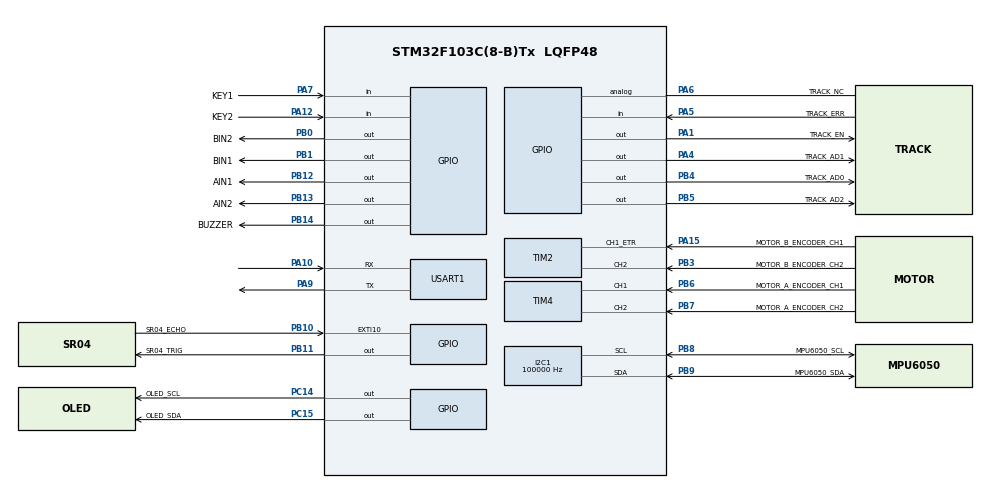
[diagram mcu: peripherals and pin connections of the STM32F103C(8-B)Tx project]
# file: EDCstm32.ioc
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ADC1.Channel-0\#ChannelRegularConversion=ADC_CHANNEL_0
ADC1.Rank-0\#ChannelRegularConversion=1
ADC1.SamplingTime-0\#ChannelRegularConversion=ADC_SAMPLETIME_55CYCLES_5
I2C1.ClockSpeed=100000
Mcu.Family=STM32F1
Mcu.Name=STM32F103C(8-B)Tx
Mcu.Package=LQFP48
NVIC.EXTI15_10_IRQn=true\:2\:0\:true\:false\:true\:true\:true\:true
NVIC.PriorityGroup=NVIC_PRIORITYGROUP_4
NVIC.USART1_IRQn=true\:3\:0\:true\:false\:true\:true\:true\:true
PA0-WKUP.GPIO_Label=TRACK_OUT
PA0-WKUP.Signal=ADC1_IN0
PA1.GPIO_Label=TRACK_EN
PA1.Signal=GPIO_Output
PA10.Mode=Asynchronous
PA10.Signal=USART1_RX
PA11.GPIO_Label=PWMA
PA11.Signal=S_TIM1_CH4
PA12.GPIO_Label=KEY2
PA12.GPIO_PuPd=GPIO_PULLUP
PA12.Signal=GPIO_Input
PA13.Mode=Serial_Wire
PA13.Signal=SYS_JTMS-SWDIO
PA14.Mode=Serial_Wire
PA14.Signal=SYS_JTCK-SWCLK
PA15.GPIO_Label=MOTOR_B_ENCODER_CH1
PA15.Mode=Encoder_Interface
PA15.Signal=S_TIM2_CH1_ETR
PA4.GPIO_Label=TRACK_AD1
PA4.Signal=GPIO_Output
PA5.GPIO_Label=TRACK_ERR
PA5.Signal=GPIO_Input
PA6.GPIO_Label=TRACK_NC
PA6.Signal=GPIO_Analog
PA7.GPIO_Label=KEY1
PA7.GPIO_PuPd=GPIO_PULLDOWN
PA7.Signal=GPIO_Input
PA8.GPIO_Label=PWMB
PA8.Signal=S_TIM1_CH1
PA9.Mode=Asynchronous
PA9.Signal=USART1_TX
PB0.GPIO_Label=BIN2
PB0.Signal=GPIO_Output
PB1.GPIO_Label=BIN1
PB1.Signal=GPIO_Output
PB10.GPIO_ModeDefaultEXTI=GPIO_MODE_IT_RISING_FALLING
PB10.GPIO_Label=SR04_ECHO
PB10.Signal=GPXTI10
PB11.GPIO_Label=SR04_TRIG
PB11.Signal=GPIO_Output
PB12.GPIO_Label=AIN1
PB12.Signal=GPIO_Output
PB13.GPIO_Label=AIN2
PB13.Signal=GPIO_Output
PB14.GPIO_Label=BUZZER
PB14.Signal=GPIO_Output
PB3.GPIO_Label=MOTOR_B_ENCODER_CH2
PB3.Mode=Encoder_Interface
PB3.Signal=S_TIM2_CH2
PB4.GPIO_Label=TRACK_AD0
PB4.Signal=GPIO_Output
PB5.GPIO_Label=TRACK_AD2
PB5.Signal=GPIO_Output
PB6.GPIO_Label=MOTOR_A_ENCODER_CH1
PB6.Mode=Encoder_Interface
PB6.Signal=S_TIM4_CH1
PB7.GPIO_Label=MOTOR_A_ENCODER_CH2
PB7.Mode=Encoder_Interface
PB7.Signal=S_TIM4_CH2
PB8.GPIO_Label=MPU6050_SCL
PB8.Mode=I2C
PB8.Signal=I2C1_SCL
PB9.GPIO_Label=MPU6050_SDA
PB9.Mode=I2C
PB9.Signal=I2C1_SDA
PC14-OSC32_IN.GPIO_Label=OLED_SCL
PC14-OSC32_IN.GPIO_ModeDefaultOutputPP=GPIO_MODE_OUTPUT_OD
PC14-OSC32_IN.GPIO_OutputLevel=GPIO_PIN_SET
PC14-OSC32_IN.Signal=GPIO_Output
PC15-OSC32_OUT.GPIO_Label=OLED_SDA
PC15-OSC32_OUT.GPIO_ModeDefaultOutputPP=GPIO_MODE_OUTPUT_OD
PC15-OSC32_OUT.GPIO_OutputLevel=GPIO_PIN_SET
PC15-OSC32_OUT.Signal=GPIO_Output
ProjectManager.HeapSize=0x200
ProjectManager.StackSize=0x400
ProjectManager.TargetToolchain=CMake
RCC.APB1Freq_Value=8000000
RCC.APB2Freq_Value=8000000
TIM1.Channel-PWM Generation1 CH1=TIM_CHANNEL_1
TIM1.Channel-PWM Generation4 CH4=TIM_CHANNEL_4
TIM1.Period=399
TIM2.Channel-Encoder Mode=TIM_CHANNEL_ALL
TIM2.EncoderMode=TIM_ENCODERMODE_TI12
TIM2.IC1Filter=4
TIM2.IC2Filter=4
TIM3.Period=65535
TIM3.Prescaler=7
TIM4.Channel-Encoder Mode=TIM_CHANNEL_ALL
TIM4.EncoderMode=TIM_ENCODERMODE_TI12
TIM4.IC1Filter=4
TIM4.IC2Filter=4
USART1.VirtualMode=VM_ASYNC
VP_TIM3_VS_ClockSourceINT.Mode=Internal
board=custom

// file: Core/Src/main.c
/* USER CODE BEGIN Header */
/**
  ******************************************************************************
  * @file           : main.c
  * @brief          : Main program body
  ******************************************************************************
  * @attention
  *
  * Copyright (c) 2026 STMicroelectronics.
  * All rights reserved.
  *
  * This software is licensed under terms that can be found in the LICENSE file
  * in the root directory of this software component.
  * If no LICENSE file comes with this software, it is provided AS-IS.
  *
  ******************************************************************************
  */
/* USER CODE END Header */
#include "main.h"

/* USER CODE BEGIN Includes */
#include <string.h>

#include "hc_sr04.h"
#include "gray_sensor.h"
#include "line_follower.h"
#include "oled.h"
#include "serial_console.h"
/* USER CODE END Includes */

/* USER CODE BEGIN PTD */
typedef enum
{
  APP_WAIT_WHITE = 0,
  APP_WAIT_SWEEP,
  APP_SWEEPING,
  APP_READY,
  APP_RUNNING,
  APP_CAL_FAILED,
  APP_FAULT
} AppStateTypeDef;

typedef struct
{
  GPIO_TypeDef *port;
  uint16_t pin;
  GPIO_PinState active_state;
  GPIO_PinState raw_state;
  GPIO_PinState stable_state;
  uint32_t changed_at_ms;
} ButtonTypeDef;

/* USER CODE END PTD */

/* USER CODE BEGIN PD */
#define BUTTON_DEBOUNCE_MS              30u
#define WHITE_CALIBRATION_SAMPLES       32u
#define BLACK_CALIBRATION_MS          5000u
#define READY_SCAN_PERIOD_MS            50u
#define OLED_REFRESH_MS                250u
#define SERIAL_OLED_TEXT_MAX            16u

/* USER CODE END PD */

ADC_HandleTypeDef hadc1;
I2C_HandleTypeDef hi2c1;
TIM_HandleTypeDef htim1;
TIM_HandleTypeDef htim2;
TIM_HandleTypeDef htim3;
TIM_HandleTypeDef htim4;
UART_HandleTypeDef huart1;

/* USER CODE BEGIN PV */
HC_SR04_HandleTypeDef hsr04;
GraySensor_HandleTypeDef gray_sensor;
LineFollower_HandleTypeDef line_follower;
ButtonTypeDef key1_button;
ButtonTypeDef key2_button;
AppStateTypeDef app_state = APP_WAIT_WHITE;
uint32_t calibration_started_ms;
uint32_t last_calibration_scan_ms;
uint32_t last_ready_scan_ms;
uint32_t last_oled_refresh_ms;
uint8_t calibration_failed_channels;
char serial_oled_text[SERIAL_OLED_TEXT_MAX + 1u];
uint8_t serial_oled_dirty = 1u;
/* USER CODE END PV */

void SystemClock_Config(void);
static void MX_GPIO_Init(void);
static void MX_ADC1_Init(void);
static void MX_I2C1_Init(void);
static void MX_TIM1_Init(void);
static void MX_TIM2_Init(void);
static void MX_TIM3_Init(void);
static void MX_TIM4_Init(void);
static void MX_USART1_UART_Init(void);
void HAL_TIM_MspPostInit(TIM_HandleTypeDef* htim);
/* USER CODE BEGIN PFP */
static void App_SetState(AppStateTypeDef state);
static void App_UpdateDisplay(uint32_t now_ms);
static void App_GetSerialStatus(SerialConsole_StatusTypeDef *status);
static bool App_SetSerialDisplay(const char *text);
static void Button_Init(ButtonTypeDef *button,
                        GPIO_TypeDef *port,
                        uint16_t pin,
                        GPIO_PinState active_state);
static bool Button_Pressed(ButtonTypeDef *button, uint32_t now_ms);

/* USER CODE END PFP */

/* USER CODE BEGIN 0 */
static void Button_Init(ButtonTypeDef *button,
                        GPIO_TypeDef *port,
                        uint16_t pin,
                        GPIO_PinState active_state)
{
  GPIO_PinState state = HAL_GPIO_ReadPin(port, pin);

  button->port = port;
  button->pin = pin;
  button->active_state = active_state;
  button->raw_state = state;
  button->stable_state = state;
  button->changed_at_ms = HAL_GetTick();
}

static bool Button_Pressed(ButtonTypeDef *button, uint32_t now_ms)
{
  GPIO_PinState raw = HAL_GPIO_ReadPin(button->port, button->pin);

  if (raw != button->raw_state)
  {
    button->raw_state = raw;
    button->changed_at_ms = now_ms;
  }
  else if ((raw != button->stable_state) &&
           ((now_ms - button->changed_at_ms) >= BUTTON_DEBOUNCE_MS))
  {
    button->stable_state = raw;
    return raw == button->active_state;
  }
  return false;
}

static void App_SetState(AppStateTypeDef state)
{
  if ((state != APP_RUNNING) && line_follower.enabled)
  {
    LineFollower_Stop(&line_follower);
  }
  app_state = state;
  last_oled_refresh_ms = 0u;
}

static const char *App_StateText(void)
{
  if ((app_state == APP_RUNNING) &&
      (line_follower.state == LINE_FOLLOWER_LOST))
  {
    return "LOST ";
  }

  switch (app_state)
  {
    case APP_WAIT_WHITE: return "WHITE";
    case APP_WAIT_SWEEP: return "SWEEP";
    case APP_SWEEPING:   return "CAL  ";
    case APP_READY:      return "READY";
    case APP_RUNNING:    return "RUN  ";
    case APP_CAL_FAILED: return "FAIL ";
    default:             return "FAULT";
  }
}

static const char *App_StateProtocolText(void)
{
  if ((app_state == APP_RUNNING) &&
      (line_follower.state == LINE_FOLLOWER_LOST))
  {
    return "LOST";
  }

  switch (app_state)
  {
    case APP_WAIT_WHITE: return "WHITE";
    case APP_WAIT_SWEEP: return "SWEEP";
    case APP_SWEEPING:   return "CAL";
    case APP_READY:      return "READY";
    case APP_RUNNING:    return "RUN";
    case APP_CAL_FAILED: return "FAIL";
    default:             return "FAULT";
  }
}

static void App_GetSerialStatus(SerialConsole_StatusTypeDef *status)
{
  const GraySensor_ResultTypeDef *result =
      GraySensor_GetResult(&gray_sensor);

  status->state = App_StateProtocolText();
  status->uptime_ms = HAL_GetTick();
  status->calibrated = gray_sensor.calibrated;
  status->line_valid = result->line_valid;
  status->position = result->position;
  status->confidence = result->confidence;
  status->left_duty_percent = line_follower.left_duty_percent;
  status->right_duty_percent = line_follower.right_duty_percent;
}

static bool App_SetSerialDisplay(const char *text)
{
  size_t length;
  size_t i;

  if (text == NULL)
  {
    return false;
  }
  length = strlen(text);
  if ((length == 0u) || (length > SERIAL_OLED_TEXT_MAX))
  {
    return false;
  }
  for (i = 0u; i < length; i++)
  {
    if (((unsigned char)text[i] < 0x20u) ||
        ((unsigned char)text[i] > 0x7eu))
    {
      return false;
    }
  }

  memcpy(serial_oled_text, text, length + 1u);
  serial_oled_dirty = 1u;
  last_oled_refresh_ms = 0u;
  return true;
}

static void App_UpdateDisplay(uint32_t now_ms)
{
  const GraySensor_ResultTypeDef *result;
  static AppStateTypeDef displayed_state = APP_FAULT;
  bool state_changed;
  uint32_t remaining_s;

  if ((displayed_state == app_state) &&
      ((now_ms - last_oled_refresh_ms) < OLED_REFRESH_MS))
  {
    return;
  }
  last_oled_refresh_ms = now_ms;
  result = GraySensor_GetResult(&gray_sensor);
  state_changed = displayed_state != app_state;

  if (state_changed)
  {
    OLED_Clear();
    OLED_ShowString(0u, 0u, "8CH TRACK");
    OLED_ShowString(0u, 1u, "State:");
    displayed_state = app_state;
  }
  OLED_ShowString(42u, 1u, App_StateText());

  if (app_state == APP_WAIT_WHITE)
  {
    OLED_ShowString(0u, 3u, "On white ground");
    OLED_ShowString(0u, 5u, "K1: capture white");
  }
  else if (app_state == APP_WAIT_SWEEP)
  {
    OLED_ShowString(0u, 3u, "Move across line");
    OLED_ShowString(0u, 5u, "K1: start 5 sec");
  }
  else if (app_state == APP_SWEEPING)
  {
    remaining_s = BLACK_CALIBRATION_MS -
                  (now_ms - calibration_started_ms);
    remaining_s = (remaining_s + 999u) / 1000u;
    OLED_ShowString(0u, 3u, "Sweep all 8 CH");
    OLED_ShowString(0u, 5u, "Remain:");
    OLED_ShowNum(48u, 5u, remaining_s, 1u);
    OLED_ShowString(54u, 5u, "s ");
  }
  else if (app_state == APP_CAL_FAILED)
  {
    OLED_ShowString(0u, 3u, "Bad CH mask:");
    OLED_ShowNum(78u, 3u, calibration_failed_channels, 3u);
    OLED_ShowString(0u, 5u, "K1: retry white");
  }
  else if ((app_state == APP_READY) || (app_state == APP_RUNNING))
  {
    OLED_ShowString(0u, 2u, "Line:");
    OLED_ShowString(30u, 2u, result->line_valid ? "YES" : "NO ");
    OLED_ShowString(0u, 3u, "Pos:");
    OLED_ShowSignedNum(30u, 3u, result->position, 4u);
    OLED_ShowString(72u, 3u, "C:");
    OLED_ShowNum(84u, 3u, result->confidence, 4u);
    OLED_ShowString(0u, 4u, "P:");
    OLED_ShowNum(12u, 4u, result->peak, 4u);
    OLED_ShowString(48u, 4u, "D:");
    OLED_ShowNum(60u, 4u, result->contrast, 4u);
    OLED_ShowString(0u, 5u, "L:");
    OLED_ShowNum(12u, 5u, line_follower.left_duty_percent, 2u);
    OLED_ShowString(30u, 5u, "R:");
    OLED_ShowNum(42u, 5u, line_follower.right_duty_percent, 2u);
    OLED_ShowString(66u, 5u, "ERR:");
    OLED_ShowNum(90u, 5u,
                 (result->err_state == GPIO_PIN_SET) ? 1u : 0u, 1u);
    OLED_ShowString(0u, 7u,
                    (app_state == APP_READY) ? "K2: start" : "K2: stop ");
  }
  else
  {
    OLED_ShowString(0u, 3u, "ADC/control error");
    OLED_ShowString(0u, 5u, "Reset required");
  }
  if (state_changed || (serial_oled_dirty != 0u))
  {
    OLED_ShowString(0u, 6u, "UART:");
    OLED_ShowString(30u, 6u, "                ");
    OLED_ShowString(30u, 6u, serial_oled_text);
    serial_oled_dirty = 0u;
  }
}

/* USER CODE END 0 */

int main(void)
{

  /* MCU Configuration--------------------------------------------------------*/

  /* Reset of all peripherals, Initializes the Flash interface and the Systick. */
  HAL_Init();

  /* Configure the system clock */
  SystemClock_Config();

  /* Initialize all configured peripherals */
  MX_GPIO_Init();
  MX_ADC1_Init();
  MX_I2C1_Init();
  MX_TIM1_Init();
  MX_TIM2_Init();
  MX_TIM3_Init();
  MX_TIM4_Init();
  MX_USART1_UART_Init();
  /* USER CODE BEGIN 2 */
  if (HC_SR04_Init(&hsr04, &htim3,
                   SR04_TRIG_GPIO_Port, SR04_TRIG_Pin,
                   SR04_ECHO_GPIO_Port, SR04_ECHO_Pin) != HAL_OK)
  {
    Error_Handler();
  }

  OLED_Init();
  OLED_Clear();
  if (GraySensor_Init(&gray_sensor, &hadc1, &htim3) != HAL_OK)
  {
    Error_Handler();
  }
  if (LineFollower_Init(&line_follower, &gray_sensor, &htim1) != HAL_OK)
  {
    Error_Handler();
  }
  Button_Init(&key1_button, KEY1_GPIO_Port, KEY1_Pin, GPIO_PIN_SET);
  Button_Init(&key2_button, KEY2_GPIO_Port, KEY2_Pin, GPIO_PIN_RESET);
  App_SetState(APP_WAIT_WHITE);
  if (SerialConsole_Init(&huart1,
                         App_GetSerialStatus,
                         App_SetSerialDisplay) != HAL_OK)
  {
    Error_Handler();
  }
  /* USER CODE END 2 */

  /* Infinite loop */
  while (1)
  {

    /* USER CODE BEGIN 3 */
    uint32_t now_ms = HAL_GetTick();

    SerialConsole_Process(now_ms);

    if (Button_Pressed(&key1_button, now_ms))
    {
      if ((app_state == APP_WAIT_WHITE) ||
          (app_state == APP_READY) ||
          (app_state == APP_CAL_FAILED))
      {
        LineFollower_Stop(&line_follower);
        if (GraySensor_CaptureWhite(&gray_sensor,
                                    WHITE_CALIBRATION_SAMPLES) == HAL_OK)
        {
          App_SetState(APP_WAIT_SWEEP);
        }
        else
        {
          App_SetState(APP_FAULT);
        }
      }
      else if (app_state == APP_WAIT_SWEEP)
      {
        if (GraySensor_BeginBlackCalibration(&gray_sensor) == HAL_OK)
        {
          calibration_started_ms = now_ms;
          last_calibration_scan_ms = now_ms - LINE_FOLLOWER_PERIOD_MS;
          App_SetState(APP_SWEEPING);
        }
        else
        {
          App_SetState(APP_FAULT);
        }
      }
    }

    if (app_state == APP_SWEEPING)
    {
      if ((now_ms - last_calibration_scan_ms) >= LINE_FOLLOWER_PERIOD_MS)
      {
        last_calibration_scan_ms = now_ms;
        if (GraySensor_UpdateBlackCalibration(&gray_sensor) != HAL_OK)
        {
          App_SetState(APP_FAULT);
        }
      }
      if ((app_state == APP_SWEEPING) &&
          ((now_ms - calibration_started_ms) >= BLACK_CALIBRATION_MS))
      {
        if (GraySensor_FinishBlackCalibration(
              &gray_sensor, &calibration_failed_channels))
        {
          App_SetState(APP_READY);
        }
        else
        {
          App_SetState(APP_CAL_FAILED);
        }
      }
    }

    if (Button_Pressed(&key2_button, now_ms))
    {
      if (app_state == APP_READY)
      {
        if (LineFollower_Start(&line_follower) == HAL_OK)
        {
          App_SetState(APP_RUNNING);
        }
      }
      else if (app_state == APP_RUNNING)
      {
        LineFollower_Stop(&line_follower);
        App_SetState(APP_READY);
      }
    }

    if ((app_state == APP_RUNNING) &&
        (LineFollower_Update(&line_follower, now_ms) != HAL_OK))
    {
      App_SetState(APP_FAULT);
    }

    if ((app_state == APP_READY) &&
        ((now_ms - last_ready_scan_ms) >= READY_SCAN_PERIOD_MS))
    {
      last_ready_scan_ms = now_ms;
      if (GraySensor_Scan(&gray_sensor) != HAL_OK)
      {
        App_SetState(APP_FAULT);
      }
    }
    App_UpdateDisplay(now_ms);
  }
  /* USER CODE END 3 */
}

static void MX_ADC1_Init(void)
{
  ADC_ChannelConfTypeDef sConfig = {0};

  hadc1.Instance = ADC1;
  hadc1.Init.ScanConvMode = ADC_SCAN_DISABLE;
  hadc1.Init.ContinuousConvMode = DISABLE;
  hadc1.Init.DiscontinuousConvMode = DISABLE;
  hadc1.Init.ExternalTrigConv = ADC_SOFTWARE_START;
  hadc1.Init.DataAlign = ADC_DATAALIGN_RIGHT;
  hadc1.Init.NbrOfConversion = 1;
  if (HAL_ADC_Init(&hadc1) != HAL_OK)
  {
    Error_Handler();
  }

  sConfig.Channel = ADC_CHANNEL_0;
  sConfig.Rank = ADC_REGULAR_RANK_1;
  sConfig.SamplingTime = ADC_SAMPLETIME_55CYCLES_5;
  if (HAL_ADC_ConfigChannel(&hadc1, &sConfig) != HAL_OK)
  {
    Error_Handler();
  }
}

static void MX_I2C1_Init(void)
{
  hi2c1.Instance = I2C1;
  hi2c1.Init.ClockSpeed = 100000;
  hi2c1.Init.DutyCycle = I2C_DUTYCYCLE_2;
  hi2c1.Init.OwnAddress1 = 0;
  hi2c1.Init.AddressingMode = I2C_ADDRESSINGMODE_7BIT;
  hi2c1.Init.DualAddressMode = I2C_DUALADDRESS_DISABLE;
  hi2c1.Init.OwnAddress2 = 0;
  hi2c1.Init.GeneralCallMode = I2C_GENERALCALL_DISABLE;
  hi2c1.Init.NoStretchMode = I2C_NOSTRETCH_DISABLE;
  if (HAL_I2C_Init(&hi2c1) != HAL_OK)
  {
    Error_Handler();
  }
}

static void MX_TIM1_Init(void)
{
  TIM_MasterConfigTypeDef sMasterConfig = {0};
  TIM_OC_InitTypeDef sConfigOC = {0};
  TIM_BreakDeadTimeConfigTypeDef sBreakDeadTimeConfig = {0};

  htim1.Instance = TIM1;
  htim1.Init.Prescaler = 0;
  htim1.Init.CounterMode = TIM_COUNTERMODE_UP;
  htim1.Init.Period = 399;
  htim1.Init.ClockDivision = TIM_CLOCKDIVISION_DIV1;
  htim1.Init.RepetitionCounter = 0;
  htim1.Init.AutoReloadPreload = TIM_AUTORELOAD_PRELOAD_DISABLE;
  if (HAL_TIM_PWM_Init(&htim1) != HAL_OK)
  {
    Error_Handler();
  }
  sMasterConfig.MasterOutputTrigger = TIM_TRGO_RESET;
  sMasterConfig.MasterSlaveMode = TIM_MASTERSLAVEMODE_DISABLE;
  if (HAL_TIMEx_MasterConfigSynchronization(&htim1, &sMasterConfig) != HAL_OK)
  {
    Error_Handler();
  }
  sConfigOC.OCMode = TIM_OCMODE_PWM1;
  sConfigOC.Pulse = 0;
  sConfigOC.OCPolarity = TIM_OCPOLARITY_HIGH;
  sConfigOC.OCNPolarity = TIM_OCNPOLARITY_HIGH;
  sConfigOC.OCFastMode = TIM_OCFAST_DISABLE;
  sConfigOC.OCIdleState = TIM_OCIDLESTATE_RESET;
  sConfigOC.OCNIdleState = TIM_OCNIDLESTATE_RESET;
  if (HAL_TIM_PWM_ConfigChannel(&htim1, &sConfigOC, PWMB_TIM_CHANNEL) != HAL_OK)
  {
    Error_Handler();
  }
  if (HAL_TIM_PWM_ConfigChannel(&htim1, &sConfigOC, PWMA_TIM_CHANNEL) != HAL_OK)
  {
    Error_Handler();
  }
  sBreakDeadTimeConfig.OffStateRunMode = TIM_OSSR_DISABLE;
  sBreakDeadTimeConfig.OffStateIDLEMode = TIM_OSSI_DISABLE;
  sBreakDeadTimeConfig.LockLevel = TIM_LOCKLEVEL_OFF;
  sBreakDeadTimeConfig.DeadTime = 0;
  sBreakDeadTimeConfig.BreakState = TIM_BREAK_DISABLE;
  sBreakDeadTimeConfig.BreakPolarity = TIM_BREAKPOLARITY_HIGH;
  sBreakDeadTimeConfig.AutomaticOutput = TIM_AUTOMATICOUTPUT_DISABLE;
  if (HAL_TIMEx_ConfigBreakDeadTime(&htim1, &sBreakDeadTimeConfig) != HAL_OK)
  {
    Error_Handler();
  }
  HAL_TIM_MspPostInit(&htim1);
}

static void MX_TIM2_Init(void)
{
  TIM_Encoder_InitTypeDef sConfig = {0};
  TIM_MasterConfigTypeDef sMasterConfig = {0};

  htim2.Instance = TIM2;
  htim2.Init.Prescaler = 0;
  htim2.Init.CounterMode = TIM_COUNTERMODE_UP;
  htim2.Init.Period = 65535;
  htim2.Init.ClockDivision = TIM_CLOCKDIVISION_DIV1;
  htim2.Init.AutoReloadPreload = TIM_AUTORELOAD_PRELOAD_DISABLE;
  sConfig.EncoderMode = TIM_ENCODERMODE_TI12;
  sConfig.IC1Polarity = TIM_ICPOLARITY_RISING;
  sConfig.IC1Selection = TIM_ICSELECTION_DIRECTTI;
  sConfig.IC1Prescaler = TIM_ICPSC_DIV1;
  sConfig.IC1Filter = 4;
  sConfig.IC2Polarity = TIM_ICPOLARITY_RISING;
  sConfig.IC2Selection = TIM_ICSELECTION_DIRECTTI;
  sConfig.IC2Prescaler = TIM_ICPSC_DIV1;
  sConfig.IC2Filter = 4;
  if (HAL_TIM_Encoder_Init(&htim2, &sConfig) != HAL_OK)
  {
    Error_Handler();
  }
  sMasterConfig.MasterOutputTrigger = TIM_TRGO_RESET;
  sMasterConfig.MasterSlaveMode = TIM_MASTERSLAVEMODE_DISABLE;
  if (HAL_TIMEx_MasterConfigSynchronization(&htim2, &sMasterConfig) != HAL_OK)
  {
    Error_Handler();
  }
}

static void MX_TIM3_Init(void)
{
  TIM_ClockConfigTypeDef sClockSourceConfig = {0};
  TIM_MasterConfigTypeDef sMasterConfig = {0};

  htim3.Instance = TIM3;
  htim3.Init.Prescaler = 7;
  htim3.Init.CounterMode = TIM_COUNTERMODE_UP;
  htim3.Init.Period = 65535;
  htim3.Init.ClockDivision = TIM_CLOCKDIVISION_DIV1;
  htim3.Init.AutoReloadPreload = TIM_AUTORELOAD_PRELOAD_DISABLE;
  if (HAL_TIM_Base_Init(&htim3) != HAL_OK)
  {
    Error_Handler();
  }
  sClockSourceConfig.ClockSource = TIM_CLOCKSOURCE_INTERNAL;
  if (HAL_TIM_ConfigClockSource(&htim3, &sClockSourceConfig) != HAL_OK)
  {
    Error_Handler();
  }
  sMasterConfig.MasterOutputTrigger = TIM_TRGO_RESET;
  sMasterConfig.MasterSlaveMode = TIM_MASTERSLAVEMODE_DISABLE;
  if (HAL_TIMEx_MasterConfigSynchronization(&htim3, &sMasterConfig) != HAL_OK)
  {
    Error_Handler();
  }
}

static void MX_TIM4_Init(void)
{
  TIM_Encoder_InitTypeDef sConfig = {0};
  TIM_MasterConfigTypeDef sMasterConfig = {0};

  htim4.Instance = TIM4;
  htim4.Init.Prescaler = 0;
  htim4.Init.CounterMode = TIM_COUNTERMODE_UP;
  htim4.Init.Period = 65535;
  htim4.Init.ClockDivision = TIM_CLOCKDIVISION_DIV1;
  htim4.Init.AutoReloadPreload = TIM_AUTORELOAD_PRELOAD_DISABLE;
  sConfig.EncoderMode = TIM_ENCODERMODE_TI12;
  sConfig.IC1Polarity = TIM_ICPOLARITY_RISING;
  sConfig.IC1Selection = TIM_ICSELECTION_DIRECTTI;
  sConfig.IC1Prescaler = TIM_ICPSC_DIV1;
  sConfig.IC1Filter = 4;
  sConfig.IC2Polarity = TIM_ICPOLARITY_RISING;
  sConfig.IC2Selection = TIM_ICSELECTION_DIRECTTI;
  sConfig.IC2Prescaler = TIM_ICPSC_DIV1;
  sConfig.IC2Filter = 4;
  if (HAL_TIM_Encoder_Init(&htim4, &sConfig) != HAL_OK)
  {
    Error_Handler();
  }
  sMasterConfig.MasterOutputTrigger = TIM_TRGO_RESET;
  sMasterConfig.MasterSlaveMode = TIM_MASTERSLAVEMODE_DISABLE;
  if (HAL_TIMEx_MasterConfigSynchronization(&htim4, &sMasterConfig) != HAL_OK)
  {
    Error_Handler();
  }
}

static void MX_USART1_UART_Init(void)
{
  huart1.Instance = USART1;
  huart1.Init.BaudRate = 115200;
  huart1.Init.WordLength = UART_WORDLENGTH_8B;
  huart1.Init.StopBits = UART_STOPBITS_1;
  huart1.Init.Parity = UART_PARITY_NONE;
  huart1.Init.Mode = UART_MODE_TX_RX;
  huart1.Init.HwFlowCtl = UART_HWCONTROL_NONE;
  huart1.Init.OverSampling = UART_OVERSAMPLING_16;
  if (HAL_UART_Init(&huart1) != HAL_OK)
  {
    Error_Handler();
  }
}

void SystemClock_Config(void)
{
  RCC_OscInitTypeDef RCC_OscInitStruct = {0};
  RCC_ClkInitTypeDef RCC_ClkInitStruct = {0};

  /** Initializes the RCC Oscillators according to the specified parameters
  * in the RCC_OscInitTypeDef structure.
  */
  RCC_OscInitStruct.OscillatorType = RCC_OSCILLATORTYPE_HSI;
  RCC_OscInitStruct.HSIState = RCC_HSI_ON;
  RCC_OscInitStruct.HSICalibrationValue = RCC_HSICALIBRATION_DEFAULT;
  RCC_OscInitStruct.PLL.PLLState = RCC_PLL_NONE;
  if (HAL_RCC_OscConfig(&RCC_OscInitStruct) != HAL_OK)
  {
    Error_Handler();
  }

  /** Initializes the CPU, AHB and APB buses clocks
  */
  RCC_ClkInitStruct.ClockType = RCC_CLOCKTYPE_HCLK|RCC_CLOCKTYPE_SYSCLK
                              |RCC_CLOCKTYPE_PCLK1|RCC_CLOCKTYPE_PCLK2;
  RCC_ClkInitStruct.SYSCLKSource = RCC_SYSCLKSOURCE_HSI;
  RCC_ClkInitStruct.AHBCLKDivider = RCC_SYSCLK_DIV1;
  RCC_ClkInitStruct.APB1CLKDivider = RCC_HCLK_DIV1;
  RCC_ClkInitStruct.APB2CLKDivider = RCC_HCLK_DIV1;

  if (HAL_RCC_ClockConfig(&RCC_ClkInitStruct, FLASH_LATENCY_0) != HAL_OK)
  {
    Error_Handler();
  }
}

static void MX_GPIO_Init(void)
{
  GPIO_InitTypeDef GPIO_InitStruct = {0};

  /* GPIO Ports Clock Enable */
  __HAL_RCC_GPIOC_CLK_ENABLE();
  __HAL_RCC_GPIOA_CLK_ENABLE();
  __HAL_RCC_GPIOB_CLK_ENABLE();

  /*Configure GPIO pin Output Level */
  HAL_GPIO_WritePin(GPIOC, OLED_SCL_Pin|OLED_SDA_Pin, GPIO_PIN_SET);

  /* Motor, ultrasonic and buzzer outputs default to their inactive state. */
  HAL_GPIO_WritePin(GPIOB, BIN2_Pin|BIN1_Pin|SR04_TRIG_Pin|AIN2_Pin
                           |AIN1_Pin|BUZZER_Pin, GPIO_PIN_RESET);

  /* Keep the analog multiplexer disabled until a scan starts. */
  HAL_GPIO_WritePin(TRACK_EN_GPIO_Port, TRACK_EN_Pin, GPIO_PIN_SET);
  HAL_GPIO_WritePin(TRACK_AD1_GPIO_Port, TRACK_AD1_Pin, GPIO_PIN_RESET);
  HAL_GPIO_WritePin(GPIOB, TRACK_AD0_Pin|TRACK_AD2_Pin, GPIO_PIN_RESET);

  /* OLED software I2C */
  GPIO_InitStruct.Pin = OLED_SCL_Pin|OLED_SDA_Pin;
  GPIO_InitStruct.Mode = GPIO_MODE_OUTPUT_OD;
  GPIO_InitStruct.Pull = GPIO_NOPULL;
  GPIO_InitStruct.Speed = GPIO_SPEED_FREQ_LOW;
  HAL_GPIO_Init(OLED_SCL_GPIO_Port, &GPIO_InitStruct);

  /* Motor direction, HC-SR04 trigger and buzzer outputs */
  GPIO_InitStruct.Pin = BIN2_Pin|BIN1_Pin|SR04_TRIG_Pin|AIN2_Pin
                        |AIN1_Pin|BUZZER_Pin;
  GPIO_InitStruct.Mode = GPIO_MODE_OUTPUT_PP;
  GPIO_InitStruct.Pull = GPIO_NOPULL;
  GPIO_InitStruct.Speed = GPIO_SPEED_FREQ_LOW;
  HAL_GPIO_Init(GPIOB, &GPIO_InitStruct);

  /* HC-SR04 echo edges are timestamped with the 1 MHz TIM3 time base. */
  GPIO_InitStruct.Pin = SR04_ECHO_Pin;
  GPIO_InitStruct.Mode = GPIO_MODE_IT_RISING_FALLING;
  GPIO_InitStruct.Pull = GPIO_NOPULL;
  HAL_GPIO_Init(SR04_ECHO_GPIO_Port, &GPIO_InitStruct);

  HAL_NVIC_SetPriority(EXTI15_10_IRQn, 2, 0);
  HAL_NVIC_EnableIRQ(EXTI15_10_IRQn);

  /* 74HC4051 enable and address outputs. */
  GPIO_InitStruct.Pin = TRACK_EN_Pin|TRACK_AD1_Pin;
  GPIO_InitStruct.Mode = GPIO_MODE_OUTPUT_PP;
  GPIO_InitStruct.Pull = GPIO_NOPULL;
  GPIO_InitStruct.Speed = GPIO_SPEED_FREQ_HIGH;
  HAL_GPIO_Init(GPIOA, &GPIO_InitStruct);

  GPIO_InitStruct.Pin = TRACK_AD0_Pin|TRACK_AD2_Pin;
  HAL_GPIO_Init(GPIOB, &GPIO_InitStruct);

  /* ERR is diagnostic only; PA6 is deliberately left in analog mode. */
  GPIO_InitStruct.Pin = TRACK_ERR_Pin;
  GPIO_InitStruct.Mode = GPIO_MODE_INPUT;
  GPIO_InitStruct.Pull = GPIO_NOPULL;
  HAL_GPIO_Init(TRACK_ERR_GPIO_Port, &GPIO_InitStruct);

  GPIO_InitStruct.Pin = TRACK_NC_Pin;
  GPIO_InitStruct.Mode = GPIO_MODE_ANALOG;
  HAL_GPIO_Init(TRACK_NC_GPIO_Port, &GPIO_InitStruct);

  /* KEY1 is active high; KEY2 is active low. */
  GPIO_InitStruct.Pin = KEY1_Pin;
  GPIO_InitStruct.Mode = GPIO_MODE_INPUT;
  GPIO_InitStruct.Pull = GPIO_PULLDOWN;
  HAL_GPIO_Init(KEY1_GPIO_Port, &GPIO_InitStruct);

  GPIO_InitStruct.Pin = KEY2_Pin;
  GPIO_InitStruct.Mode = GPIO_MODE_INPUT;
  GPIO_InitStruct.Pull = GPIO_PULLUP;
  HAL_GPIO_Init(KEY2_GPIO_Port, &GPIO_InitStruct);

}

/* USER CODE BEGIN 4 */
void HAL_GPIO_EXTI_Callback(uint16_t GPIO_Pin)
{
  if (GPIO_Pin == SR04_ECHO_Pin)
  {
    HC_SR04_HandleEchoEdge(&hsr04);
  }
}
/* USER CODE END 4 */

void Error_Handler(void)
{
  __disable_irq();
  while (1)
  {
  }
}
